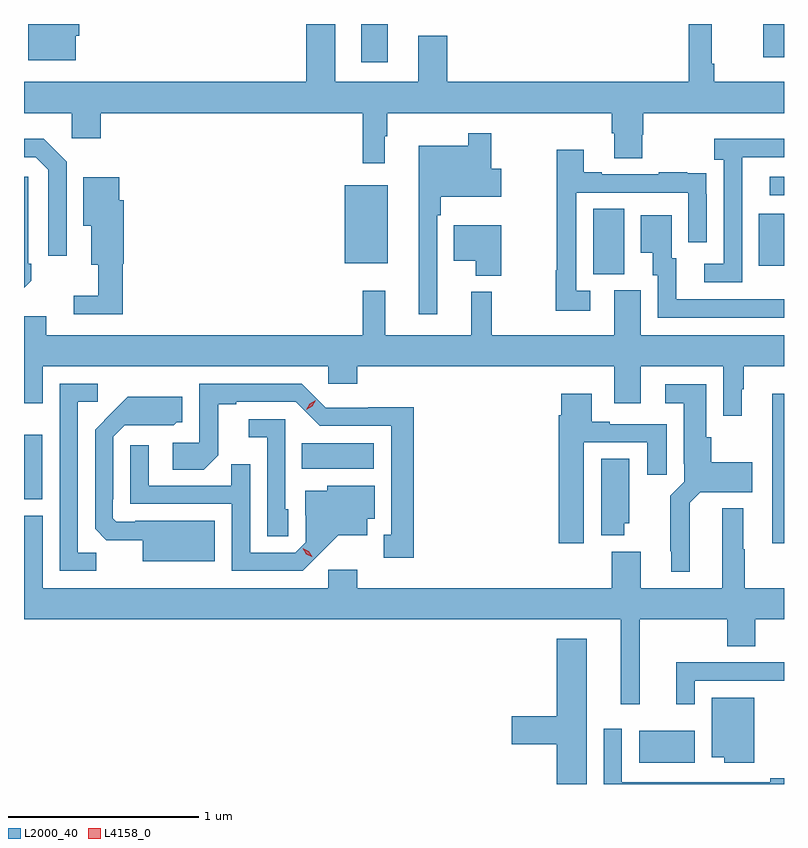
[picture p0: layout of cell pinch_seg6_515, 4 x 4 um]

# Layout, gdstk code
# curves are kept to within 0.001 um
import gdstk
lib = gdstk.Library(unit=1e-6, precision=1e-09)
def R(c, l, rs):  # rectangles x0, y0, x1, y1
    for r in rs: c.add(gdstk.rectangle(r[:2], r[2:], *l))
def P(c, l, *ps):  # polygons
    for p in ps: c.add(gdstk.Polygon(p, *l))
L2000_40 = (2000, 40)
L4158_0 = (4158, 0)

pinch_seg6_515 = lib.new_cell('pinch_seg6_515')
R(pinch_seg6_515, L2000_40, [(761.633,937.256,761.926,937.426), (762.332,938.412,762.395,939.199), (758.395,938.645,758.491,938.983), (759.856,938.804,760.237,938.938), (761.39,939.829,761.554,940.172), (762.263,939.873,762.395,940.147), (760.082,939.887,760.309,940.297), (762.321,940.245,762.395,940.341), (760.169,940.944,760.309,941.145), (762.287,940.971,762.395,941.145)])
P(pinch_seg6_515, L2000_40, [(758.668,941.082),(758.686,941.082),(758.686,941.145),(758.417,941.145),(758.417,940.955),(758.668,940.955)],
  [(760.294,940.553),(760.306,940.553),(760.306,940.676),(761.489,940.676),(761.489,940.57),(761.501,940.57),(761.501,940.438),(761.649,940.438),(761.649,940.563),(761.654,940.563),(761.654,940.676),(762.395,940.676),(762.395,940.84),(762.029,940.84),(762.029,940.936),(762.014,940.936),(762.014,941.145),(761.893,941.145),(761.893,940.84),(760.622,940.84),(760.622,941.083),(760.469,941.083),(760.469,940.84),(760.033,940.84),(760.033,941.145),(759.881,941.145),(759.881,940.84),(758.395,940.84),(758.395,940.676),(758.646,940.676),(758.646,940.545),(758.798,940.545),(758.798,940.676),(760.177,940.676),(760.177,940.413),(760.294,940.413)],
  [(760.569,940.139),(760.589,940.139),(760.589,940.235),(760.906,940.235),(760.906,940.383),(760.855,940.383),(760.855,940.57),(760.734,940.57),(760.734,940.504),(760.472,940.504),(760.472,939.618),(760.569,939.618)],
  [(758.619,940.419),(758.498,940.54),(758.395,940.54),(758.395,940.443),(758.457,940.443),(758.523,940.377),(758.523,939.924),(758.619,939.924)],
  [(762.174,940.243),(762.175,940.243),(762.175,940.443),(762.395,940.443),(762.395,940.54),(762.027,940.54),(762.027,940.43),(762.078,940.43),(762.078,939.882),(761.976,939.882),(761.976,939.786),(762.174,939.786)],
  [(761.374,939.741),(761.301,939.741),(761.301,940.257),(761.892,940.257),(761.892,939.996),(761.988,939.996),(761.988,940.25),(761.987,940.25),(761.987,940.359),(761.885,940.359),(761.885,940.366),(761.737,940.366),(761.737,940.353),(761.437,940.353),(761.437,940.366),(761.341,940.366),(761.341,940.483),(761.2,940.483),(761.2,939.848),(761.193,939.848),(761.193,939.636),(761.374,939.636)],
  [(758.433,939.795),(758.433,939.883),(758.418,939.883),(758.418,940.341),(758.395,940.341),(758.395,939.757)],
  [(758.915,939.882),(758.921,939.882),(758.921,940.218),(758.896,940.218),(758.896,940.339),(758.708,940.339),(758.708,940.082),(758.75,940.082),(758.75,939.878),(758.787,939.878),(758.787,939.715),(758.658,939.715),(758.658,939.618),(758.915,939.618)],
  [(762.395,939.697),(762.311,939.697),(762.311,939.696),(761.827,939.696),(761.827,939.912),(761.803,939.912),(761.803,940.138),(761.642,940.138),(761.642,939.941),(761.705,939.941),(761.705,939.822),(761.73,939.822),(761.73,939.6),(762.395,939.6)],
  [(760.906,940.087),(760.658,940.087),(760.658,939.899),(760.772,939.899),(760.772,939.821),(760.906,939.821)],
  [(762.172,939.222),(762.184,939.222),(762.184,939.344),(762.395,939.344),(762.395,939.508),(761.641,939.508),(761.641,939.744),(761.501,939.744),(761.501,939.508),(760.858,939.508),(760.858,939.736),(760.748,939.736),(760.748,939.508),(760.295,939.508),(760.295,939.742),(760.177,939.742),(760.177,939.508),(758.512,939.508),(758.512,939.606),(758.395,939.606),(758.395,939.15),(758.494,939.15),(758.494,939.344),(759.996,939.344),(759.996,939.251),(760.148,939.251),(760.148,939.344),(761.501,939.344),(761.501,939.15),(761.641,939.15),(761.641,939.344),(762.075,939.344),(762.075,939.084),(762.172,939.084)],
  [(760.447,939.128),(760.206,939.128),(760.206,939.126),(759.984,939.126),(759.858,939.252),(759.318,939.252),(759.318,938.94),(759.177,938.94),(759.177,938.8),(759.341,938.8),(759.417,938.876),(759.417,939.144),(759.511,939.144),(759.511,939.156),(759.825,939.156),(759.951,939.03),(760.328,939.03),(760.328,938.457),(760.289,938.457),(760.289,938.337),(760.447,938.337)],
  [(758.775,938.363),(758.679,938.363),(758.679,939.156),(758.782,939.156),(758.782,939.252),(758.583,939.252),(758.583,938.268),(758.775,938.268)],
  [(761.899,938.624),(761.955,938.681),(762.229,938.681),(762.229,938.839),(762.012,938.839),(762.012,938.97),(761.986,938.97),(761.986,939.25),(761.769,939.25),(761.769,939.149),(761.867,939.149),(761.867,938.83),(761.871,938.83),(761.871,938.736),(761.797,938.662),(761.797,938.371),(761.801,938.371),(761.801,938.261),(761.899,938.261)],
  [(761.341,938.943),(761.675,938.943),(761.675,938.772),(761.779,938.772),(761.779,939.039),(761.479,939.039),(761.479,939.052),(761.383,939.052),(761.383,939.199),(761.222,939.199),(761.222,939.086),(761.21,939.086),(761.21,938.412),(761.341,938.412)],
  [(759.4,938.53),(758.98,938.53),(758.98,938.526),(758.88,938.526),(758.862,938.544),(758.862,938.644),(758.865,938.644),(758.865,938.973),(758.925,939.033),(759.182,939.032),(759.198,939.048),(759.229,939.048),(759.229,939.184),(758.941,939.184),(758.769,939.01),(758.769,938.488),(758.828,938.429),(759.02,938.429),(759.02,938.318),(759.4,938.318)],
  [(759.786,938.592),(759.771,938.592),(759.771,939.066),(759.579,939.066),(759.579,938.969),(759.675,938.969),(759.675,938.449),(759.786,938.449)],
  [(759.946,938.351),(760.049,938.453),(760.201,938.453),(760.201,938.54),(760.24,938.54),(760.24,938.716),(759.99,938.716),(759.99,938.689),(759.875,938.689),(759.875,938.56),(759.879,938.56),(759.879,938.418),(759.822,938.361),(759.585,938.361),(759.585,938.828),(759.487,938.828),(759.487,938.715),(759.051,938.715),(759.051,938.929),(758.955,938.929),(758.955,938.619),(759.489,938.619),(759.489,938.268),(759.862,938.268)],
  [(761.554,938.517),(761.581,938.517),(761.581,938.858),(761.432,938.858),(761.432,938.453),(761.554,938.453)],
  [(761.636,938.012),(762.097,938.012),(762.097,937.87),(762.244,937.87),(762.244,938.012),(762.395,938.012),(762.395,938.176),(762.189,938.176),(762.189,938.381),(762.181,938.381),(762.181,938.596),(762.071,938.596),(762.071,938.176),(761.641,938.176),(761.641,938.368),(761.489,938.368),(761.489,938.176),(760.148,938.176),(760.148,938.272),(759.996,938.272),(759.996,938.176),(758.494,938.176),(758.494,938.557),(758.395,938.557),(758.395,938.012),(761.537,938.012),(761.537,937.566),(761.636,937.566)],
  [(761.356,937.909),(761.198,937.909),(761.198,937.502),(760.962,937.502),(760.962,937.355),(761.198,937.355),(761.198,937.145),(761.356,937.145)],
  [(761.925,937.689),(762.395,937.689),(762.395,937.785),(761.828,937.785),(761.828,937.566),(761.925,937.566)],
  [(762.238,937.6),(762.014,937.6),(762.014,937.286),(762.08,937.286),(762.08,937.256),(762.238,937.256)],
  [(762.395,937.175),(762.323,937.175),(762.323,937.155),(761.541,937.155),(761.541,937.435),(761.445,937.435),(761.445,937.145),(762.395,937.145)])
P(pinch_seg6_515, L4158_0, [(759.88,939.114),(759.88,939.114),(759.898,939.147),(759.93,939.166),(759.93,939.166),(759.93,939.165),(759.912,939.133),(759.881,939.114)],
  [(759.91,938.34),(759.88,938.355),(759.863,938.385),(759.863,938.385),(759.863,938.385),(759.894,938.37),(759.911,938.34),(759.911,938.34)])

lib.write_gds('pinch_seg6_515.gds')
